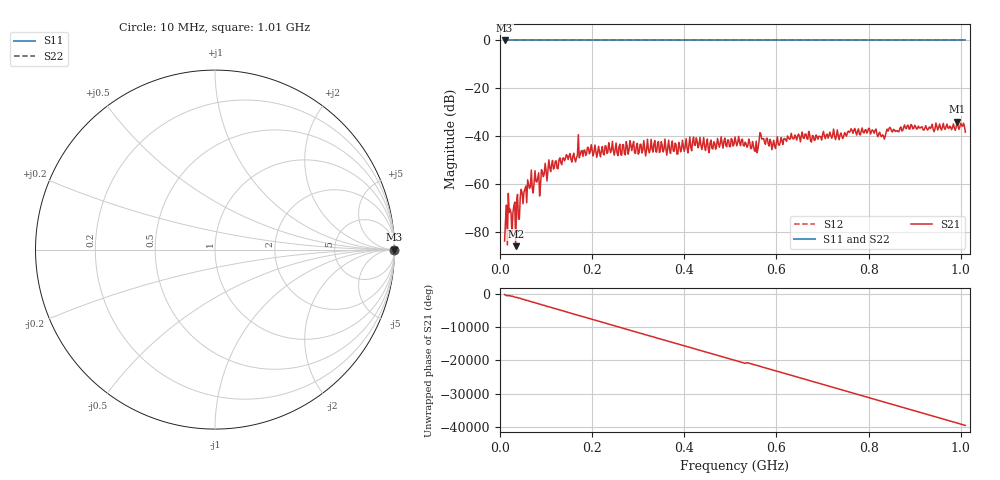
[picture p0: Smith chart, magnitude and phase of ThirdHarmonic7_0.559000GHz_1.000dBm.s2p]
! 8/17/2025 5:04:21 PM
! C:\ANRITSUVNA\TEMP\TEMP.S2P
! CHANNEL.1
! TR.MEASUREMENT
! RAW.DATA
! RF.CORRECTION.OFF
! AVERAGING.OFF
! IF.BANDWIDTH: 5KHZ
! SWEEPTYPE:  FREQ.SWEEP(Linear)
! Reference Plane Port Info
! PORT:  PORT1  PORT2
! DISTANCE:  0  m  0  m
! TIME:  0  s  0  s
! PHASE.OFFSET:  0  deg.  0  deg.
! LOSS:  0  dB  0  dB
! REF.LOSS:  0  dB  0  dB
! REF.FREQ:  0  Hz  0  Hz
! Power Info
! POWER:  -20  dBm  -20  dBm
! EFF.POWER:  -20  dBm  -20  dBm
! SOURCE.ATTEN:  0  dB  0  dB
! TEST.ATTEN:  0  dB  0  dB
# GHZ S RI R 50.0
! FREQ.GHZ  S11RE  S11IM  S21RE  S21IM  S12RE  S12IM  S22RE  S22IM
!; PortSelection: Port_12
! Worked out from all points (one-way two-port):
!   501 points, 10 MHz to 1.01 GHz, reference 50 ohm
!   highest |S21| = -33.95 dB at 992 MHz (marker M1); lowest = -85.9 dB at 34 MHz (marker M2)
!   lowest |S11| = 0.0 dB at 10 MHz (marker M3)
!   |S11| at or under -10 dB: nowhere
!   |S22| runs from 0.0 to 0.0 dB; largest |S21 - S12| = 1
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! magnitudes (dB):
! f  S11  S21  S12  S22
! 10 MHz  0.0  -83.7  0.0  0.0
! 18 MHz  0.0  -63.8  0.0  0.0
! 30 MHz  0.0  -69.0  0.0  0.0
! 34 MHz  0.0  -85.9  0.0  0.0
! 38 MHz  0.0  -64.3  0.0  0.0
! 48 MHz  0.0  -63.7  0.0  0.0
! 64 MHz  0.0  -61.7  0.0  0.0
! 84 MHz  0.0  -55.2  0.0  0.0
! 110 MHz  0.0  -54.7  0.0  0.0
! 178 MHz  0.0  -45.9  0.0  0.0
! 344 MHz  0.0  -42.2  0.0  0.0
! 510 MHz  0.0  -40.3  0.0  0.0
! 556 MHz  0.0  -42.0  0.0  0.0
! 568 MHz  0.0  -41.1  0.0  0.0
! 594 MHz  0.0  -41.6  0.0  0.0
! 628 MHz  0.0  -41.2  0.0  0.0
! 678 MHz  0.0  -39.7  0.0  0.0
! 766 MHz  0.0  -38.8  0.0  0.0
! 832 MHz  0.0  -39.7  0.0  0.0
! 844 MHz  0.0  -36.9  0.0  0.0
! 992 MHz  0.0  -33.9  0.0  0.0
! 1.01 GHz  0.0  -38.3  0.0  0.0
